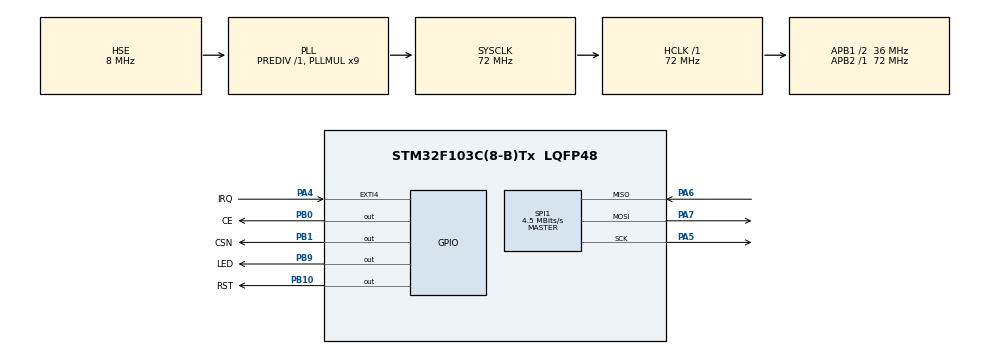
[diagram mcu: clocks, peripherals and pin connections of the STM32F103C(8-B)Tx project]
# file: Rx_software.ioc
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Mcu.Family=STM32F1
Mcu.Name=STM32F103C(8-B)Tx
Mcu.Package=LQFP48
NVIC.EXTI4_IRQn=true\:0\:0\:false\:false\:true\:true\:true\:true
NVIC.PriorityGroup=NVIC_PRIORITYGROUP_4
PA13.Mode=Serial_Wire
PA13.Signal=SYS_JTMS-SWDIO
PA14.Mode=Serial_Wire
PA14.Signal=SYS_JTCK-SWCLK
PA4.GPIO_Label=IRQ
PA4.GPIO_ModeDefaultEXTI=GPIO_MODE_IT_FALLING
PA4.Signal=GPXTI4
PA5.Mode=Full_Duplex_Master
PA5.Signal=SPI1_SCK
PA6.Mode=Full_Duplex_Master
PA6.Signal=SPI1_MISO
PA7.Mode=Full_Duplex_Master
PA7.Signal=SPI1_MOSI
PB0.GPIO_Label=CE
PB0.Signal=GPIO_Output
PB1.GPIO_Label=CSN
PB1.Signal=GPIO_Output
PB10.GPIO_Label=RST
PB10.Signal=GPIO_Output
PB9.GPIO_Label=LED
PB9.Signal=GPIO_Output
PD0-OSC_IN.Mode=HSE-External-Oscillator
PD0-OSC_IN.Signal=RCC_OSC_IN
PD1-OSC_OUT.Mode=HSE-External-Oscillator
PD1-OSC_OUT.Signal=RCC_OSC_OUT
ProjectManager.HeapSize=0x200
ProjectManager.StackSize=0x400
ProjectManager.TargetToolchain=STM32CubeIDE
RCC.AHBFreq_Value=72000000
RCC.APB1CLKDivider=RCC_HCLK_DIV2
RCC.APB1Freq_Value=36000000
RCC.APB1TimFreq_Value=72000000
RCC.APB2Freq_Value=72000000
RCC.APB2TimFreq_Value=72000000
RCC.HCLKFreq_Value=72000000
RCC.PLLMUL=RCC_PLL_MUL9
RCC.PLLSourceVirtual=RCC_PLLSOURCE_HSE
RCC.SYSCLKFreq_VALUE=72000000
RCC.SYSCLKSource=RCC_SYSCLKSOURCE_PLLCLK
RCC.USBFreq_Value=72000000
SPI1.BaudRatePrescaler=SPI_BAUDRATEPRESCALER_16
SPI1.CalculateBaudRate=4.5 MBits/s
SPI1.Direction=SPI_DIRECTION_2LINES
SPI1.Mode=SPI_MODE_MASTER
SPI1.VirtualType=VM_MASTER
board=custom

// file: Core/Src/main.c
/* USER CODE BEGIN Header */
/**
  ******************************************************************************
  * @file           : main.c
  * @brief          : Main program body
  ******************************************************************************
  * @attention
  *
  * Copyright (c) 2025 STMicroelectronics.
  * All rights reserved.
  *
  * This software is licensed under terms that can be found in the LICENSE file
  * in the root directory of this software component.
  * If no LICENSE file comes with this software, it is provided AS-IS.
  *
  ******************************************************************************
  */
/* USER CODE END Header */

/* USER CODE BEGIN Includes */
#include "NRF24.h"
#include "main.h"
#include <string.h>

/* USER CODE END Includes */

SPI_HandleTypeDef hspi1;

void SystemClock_Config(void);
static void MX_GPIO_Init(void);
static void MX_SPI1_Init(void);

int main(void)
{

  /* MCU Configuration--------------------------------------------------------*/

  /* Reset of all peripherals, Initializes the Flash interface and the Systick. */
  HAL_Init();

  /* Configure the system clock */
  SystemClock_Config();

  /* Initialize all configured peripherals */
  MX_GPIO_Init();
  MX_SPI1_Init();
  /* USER CODE BEGIN 2 */
       nrf24 my_nrf;
       	my_nrf.mode = RX; 				//Mode
       	my_nrf.channel = 0x20;			//RF frequency channel
       	my_nrf.field_width = FW_5;		//5 bytes
       	my_nrf.data_rate = DR_1;		//1 Mbps
       	my_nrf.power = PW_2;			//Power of transmission
       	my_nrf.data_width = 0x02;  		//payload size 1-32 bytes
       	my_nrf.pipe = ALL;  			//enable all data pipe
       	my_nrf.data_lenght = 2;			//2 bytes of data
       	my_nrf.LNA_gain = LNA_OFF;
       	my_nrf.crc_scheme = CRC_1;

      /*------------Start Init------------*/
       NRF24_init(&my_nrf);

       uint8_t rx_addr[] = {0xE7, 0xE7, 0xE7, 0xE7, 0xE7};
       NRF24_Set_ADDR(RX_ADDR_P0, rx_addr, 5);							//address to receive

       //if tx : uint8_t tx_addr[] = {0xE7, 0xE7, 0xE7, 0xE7, 0xE7};
       //NRF24_Set_ADDR(TX_ADDR, tx_addr, 5);
       /*---------------------------------*/

  /* USER CODE END 2 */

  /* Infinite loop */
  while (1)
  {

    /* USER CODE BEGIN 3 */
	  uint8_t rx_data[2] = "xx";

	  uint8_t rx = start_Receiving(&my_nrf, rx_data, 100);
	  HAL_Delay(10);

	  if(strcmp(rx_data, "eb") == 0 && rx == 1){
		  HAL_GPIO_WritePin(LED_GPIO_Port, LED_Pin, SET);
	  }else if(rx == 0){
		  HAL_GPIO_WritePin(LED_GPIO_Port, LED_Pin, RESET);
	  }
  }
  /* USER CODE END 3 */
}

void SystemClock_Config(void)
{
  RCC_OscInitTypeDef RCC_OscInitStruct = {0};
  RCC_ClkInitTypeDef RCC_ClkInitStruct = {0};

  /** Initializes the RCC Oscillators according to the specified parameters
  * in the RCC_OscInitTypeDef structure.
  */
  RCC_OscInitStruct.OscillatorType = RCC_OSCILLATORTYPE_HSE;
  RCC_OscInitStruct.HSEState = RCC_HSE_ON;
  RCC_OscInitStruct.HSEPredivValue = RCC_HSE_PREDIV_DIV1;
  RCC_OscInitStruct.HSIState = RCC_HSI_ON;
  RCC_OscInitStruct.PLL.PLLState = RCC_PLL_ON;
  RCC_OscInitStruct.PLL.PLLSource = RCC_PLLSOURCE_HSE;
  RCC_OscInitStruct.PLL.PLLMUL = RCC_PLL_MUL9;
  if (HAL_RCC_OscConfig(&RCC_OscInitStruct) != HAL_OK)
  {
    Error_Handler();
  }

  /** Initializes the CPU, AHB and APB buses clocks
  */
  RCC_ClkInitStruct.ClockType = RCC_CLOCKTYPE_HCLK|RCC_CLOCKTYPE_SYSCLK
                              |RCC_CLOCKTYPE_PCLK1|RCC_CLOCKTYPE_PCLK2;
  RCC_ClkInitStruct.SYSCLKSource = RCC_SYSCLKSOURCE_PLLCLK;
  RCC_ClkInitStruct.AHBCLKDivider = RCC_SYSCLK_DIV1;
  RCC_ClkInitStruct.APB1CLKDivider = RCC_HCLK_DIV2;
  RCC_ClkInitStruct.APB2CLKDivider = RCC_HCLK_DIV1;

  if (HAL_RCC_ClockConfig(&RCC_ClkInitStruct, FLASH_LATENCY_2) != HAL_OK)
  {
    Error_Handler();
  }
}

static void MX_SPI1_Init(void)
{

  /* SPI1 parameter configuration*/
  hspi1.Instance = SPI1;
  hspi1.Init.Mode = SPI_MODE_MASTER;
  hspi1.Init.Direction = SPI_DIRECTION_2LINES;
  hspi1.Init.DataSize = SPI_DATASIZE_8BIT;
  hspi1.Init.CLKPolarity = SPI_POLARITY_LOW;
  hspi1.Init.CLKPhase = SPI_PHASE_1EDGE;
  hspi1.Init.NSS = SPI_NSS_SOFT;
  hspi1.Init.BaudRatePrescaler = SPI_BAUDRATEPRESCALER_16;
  hspi1.Init.FirstBit = SPI_FIRSTBIT_MSB;
  hspi1.Init.TIMode = SPI_TIMODE_DISABLE;
  hspi1.Init.CRCCalculation = SPI_CRCCALCULATION_DISABLE;
  hspi1.Init.CRCPolynomial = 10;
  if (HAL_SPI_Init(&hspi1) != HAL_OK)
  {
    Error_Handler();
  }

}

static void MX_GPIO_Init(void)
{
  GPIO_InitTypeDef GPIO_InitStruct = {0};

  /* GPIO Ports Clock Enable */
  __HAL_RCC_GPIOD_CLK_ENABLE();
  __HAL_RCC_GPIOA_CLK_ENABLE();
  __HAL_RCC_GPIOB_CLK_ENABLE();

  /*Configure GPIO pin Output Level */
  HAL_GPIO_WritePin(GPIOB, CE_Pin|CSN_Pin|RST_Pin|LED_Pin, GPIO_PIN_RESET);

  /*Configure GPIO pin : IRQ_Pin */
  GPIO_InitStruct.Pin = IRQ_Pin;
  GPIO_InitStruct.Mode = GPIO_MODE_IT_FALLING;
  GPIO_InitStruct.Pull = GPIO_NOPULL;
  HAL_GPIO_Init(IRQ_GPIO_Port, &GPIO_InitStruct);

  /*Configure GPIO pins : CE_Pin CSN_Pin RST_Pin LED_Pin */
  GPIO_InitStruct.Pin = CE_Pin|CSN_Pin|RST_Pin|LED_Pin;
  GPIO_InitStruct.Mode = GPIO_MODE_OUTPUT_PP;
  GPIO_InitStruct.Pull = GPIO_NOPULL;
  GPIO_InitStruct.Speed = GPIO_SPEED_FREQ_LOW;
  HAL_GPIO_Init(GPIOB, &GPIO_InitStruct);

  /* EXTI interrupt init*/
  HAL_NVIC_SetPriority(EXTI4_IRQn, 0, 0);
  HAL_NVIC_EnableIRQ(EXTI4_IRQn);

}

void Error_Handler(void)
{
  __disable_irq();
  while (1)
  {
  }
}
